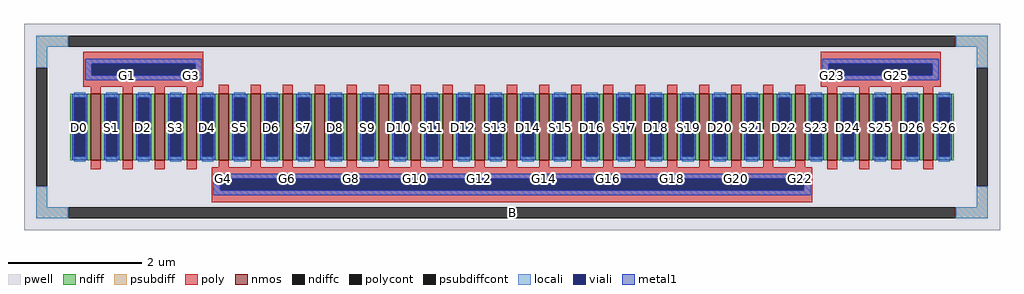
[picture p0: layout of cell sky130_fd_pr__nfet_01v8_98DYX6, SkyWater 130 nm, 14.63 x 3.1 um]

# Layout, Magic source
magic
tech sky130A
magscale 1 2
<< pwell >>
rect -1463 -310 1463 310
<< nmos >>
rect -1263 -100 -1233 100
rect -1167 -100 -1137 100
rect -1071 -100 -1041 100
rect -975 -100 -945 100
rect -879 -100 -849 100
rect -783 -100 -753 100
rect -687 -100 -657 100
rect -591 -100 -561 100
rect -495 -100 -465 100
rect -399 -100 -369 100
rect -303 -100 -273 100
rect -207 -100 -177 100
rect -111 -100 -81 100
rect -15 -100 15 100
rect 81 -100 111 100
rect 177 -100 207 100
rect 273 -100 303 100
rect 369 -100 399 100
rect 465 -100 495 100
rect 561 -100 591 100
rect 657 -100 687 100
rect 753 -100 783 100
rect 849 -100 879 100
rect 945 -100 975 100
rect 1041 -100 1071 100
rect 1137 -100 1167 100
rect 1233 -100 1263 100
<< ndiff >>
rect -1325 88 -1263 100
rect -1325 -88 -1313 88
rect -1279 -88 -1263 88
rect -1325 -100 -1263 -88
rect -1233 88 -1167 100
rect -1233 -88 -1217 88
rect -1183 -88 -1167 88
rect -1233 -100 -1167 -88
rect -1137 88 -1071 100
rect -1137 -88 -1121 88
rect -1087 -88 -1071 88
rect -1137 -100 -1071 -88
rect -1041 88 -975 100
rect -1041 -88 -1025 88
rect -991 -88 -975 88
rect -1041 -100 -975 -88
rect -945 88 -879 100
rect -945 -88 -929 88
rect -895 -88 -879 88
rect -945 -100 -879 -88
rect -849 88 -783 100
rect -849 -88 -833 88
rect -799 -88 -783 88
rect -849 -100 -783 -88
rect -753 88 -687 100
rect -753 -88 -737 88
rect -703 -88 -687 88
rect -753 -100 -687 -88
rect -657 88 -591 100
rect -657 -88 -641 88
rect -607 -88 -591 88
rect -657 -100 -591 -88
rect -561 88 -495 100
rect -561 -88 -545 88
rect -511 -88 -495 88
rect -561 -100 -495 -88
rect -465 88 -399 100
rect -465 -88 -449 88
rect -415 -88 -399 88
rect -465 -100 -399 -88
rect -369 88 -303 100
rect -369 -88 -353 88
rect -319 -88 -303 88
rect -369 -100 -303 -88
rect -273 88 -207 100
rect -273 -88 -257 88
rect -223 -88 -207 88
rect -273 -100 -207 -88
rect -177 88 -111 100
rect -177 -88 -161 88
rect -127 -88 -111 88
rect -177 -100 -111 -88
rect -81 88 -15 100
rect -81 -88 -65 88
rect -31 -88 -15 88
rect -81 -100 -15 -88
rect 15 88 81 100
rect 15 -88 31 88
rect 65 -88 81 88
rect 15 -100 81 -88
rect 111 88 177 100
rect 111 -88 127 88
rect 161 -88 177 88
rect 111 -100 177 -88
rect 207 88 273 100
rect 207 -88 223 88
rect 257 -88 273 88
rect 207 -100 273 -88
rect 303 88 369 100
rect 303 -88 319 88
rect 353 -88 369 88
rect 303 -100 369 -88
rect 399 88 465 100
rect 399 -88 415 88
rect 449 -88 465 88
rect 399 -100 465 -88
rect 495 88 561 100
rect 495 -88 511 88
rect 545 -88 561 88
rect 495 -100 561 -88
rect 591 88 657 100
rect 591 -88 607 88
rect 641 -88 657 88
rect 591 -100 657 -88
rect 687 88 753 100
rect 687 -88 703 88
rect 737 -88 753 88
rect 687 -100 753 -88
rect 783 88 849 100
rect 783 -88 799 88
rect 833 -88 849 88
rect 783 -100 849 -88
rect 879 88 945 100
rect 879 -88 895 88
rect 929 -88 945 88
rect 879 -100 945 -88
rect 975 88 1041 100
rect 975 -88 991 88
rect 1025 -88 1041 88
rect 975 -100 1041 -88
rect 1071 88 1137 100
rect 1071 -88 1087 88
rect 1121 -88 1137 88
rect 1071 -100 1137 -88
rect 1167 88 1233 100
rect 1167 -88 1183 88
rect 1217 -88 1233 88
rect 1167 -100 1233 -88
rect 1263 88 1325 100
rect 1263 -88 1279 88
rect 1313 -88 1325 88
rect 1263 -100 1325 -88
<< ndiffc >>
rect -1313 -88 -1279 88
rect -1217 -88 -1183 88
rect -1121 -88 -1087 88
rect -1025 -88 -991 88
rect -929 -88 -895 88
rect -833 -88 -799 88
rect -737 -88 -703 88
rect -641 -88 -607 88
rect -545 -88 -511 88
rect -449 -88 -415 88
rect -353 -88 -319 88
rect -257 -88 -223 88
rect -161 -88 -127 88
rect -65 -88 -31 88
rect 31 -88 65 88
rect 127 -88 161 88
rect 223 -88 257 88
rect 319 -88 353 88
rect 415 -88 449 88
rect 511 -88 545 88
rect 607 -88 641 88
rect 703 -88 737 88
rect 799 -88 833 88
rect 895 -88 929 88
rect 991 -88 1025 88
rect 1087 -88 1121 88
rect 1183 -88 1217 88
rect 1279 -88 1313 88
<< psubdiff >>
rect -1427 240 -1331 274
rect 1331 240 1427 274
rect -1427 178 -1393 240
rect 1393 178 1427 240
rect -1427 -240 -1393 -178
rect 1393 -240 1427 -178
rect -1427 -274 -1331 -240
rect 1331 -274 1427 -240
<< psubdiffcont >>
rect -1331 240 1331 274
rect -1427 -178 -1393 178
rect 1393 -178 1427 178
rect -1331 -274 1331 -240
<< poly >>
rect -1285 190 -925 225
rect -1285 155 -1260 190
rect -950 155 -925 190
rect -1285 120 -925 155
rect 925 190 1285 225
rect 925 155 950 190
rect 1260 155 1285 190
rect -1263 100 -1233 120
rect -1167 100 -1137 120
rect -1071 100 -1041 120
rect -975 100 -945 120
rect -879 100 -849 126
rect -783 100 -753 126
rect -687 100 -657 126
rect -591 100 -561 126
rect -495 100 -465 126
rect -399 100 -369 126
rect -303 100 -273 126
rect -207 100 -177 126
rect -111 100 -81 126
rect -15 100 15 126
rect 81 100 111 126
rect 177 100 207 126
rect 273 100 303 126
rect 369 100 399 126
rect 465 100 495 126
rect 561 100 591 126
rect 657 100 687 126
rect 753 100 783 126
rect 849 100 879 126
rect 925 120 1285 155
rect 945 100 975 120
rect 1041 100 1071 120
rect 1137 100 1167 120
rect 1233 100 1263 120
rect -1263 -126 -1233 -100
rect -1167 -126 -1137 -100
rect -1071 -126 -1041 -100
rect -975 -126 -945 -100
rect -879 -120 -849 -100
rect -783 -120 -753 -100
rect -687 -120 -657 -100
rect -591 -120 -561 -100
rect -495 -120 -465 -100
rect -399 -120 -369 -100
rect -303 -120 -273 -100
rect -207 -120 -177 -100
rect -111 -120 -81 -100
rect -15 -120 15 -100
rect 81 -120 111 -100
rect 177 -120 207 -100
rect 273 -120 303 -100
rect 369 -120 399 -100
rect 465 -120 495 -100
rect 561 -120 591 -100
rect 657 -120 687 -100
rect 753 -120 783 -100
rect 849 -120 879 -100
rect -900 -155 900 -120
rect 945 -126 975 -100
rect 1041 -126 1071 -100
rect 1137 -126 1167 -100
rect 1233 -126 1263 -100
rect -900 -190 -875 -155
rect 875 -190 900 -155
rect -900 -225 900 -190
<< polycont >>
rect -1260 155 -950 190
rect 950 155 1260 190
rect -875 -190 875 -155
<< locali >>
rect -1427 240 -1331 274
rect 1331 240 1427 274
rect -1427 178 -1393 240
rect -1280 190 -930 205
rect -1280 155 -1260 190
rect -950 155 -930 190
rect -1280 140 -930 155
rect 930 190 1280 205
rect 930 155 950 190
rect 1260 155 1280 190
rect 930 140 1280 155
rect 1393 178 1427 240
rect -1313 88 -1279 104
rect -1313 -104 -1279 -88
rect -1217 88 -1183 104
rect -1217 -104 -1183 -88
rect -1121 88 -1087 104
rect -1121 -104 -1087 -88
rect -1025 88 -991 104
rect -1025 -104 -991 -88
rect -929 88 -895 104
rect -929 -104 -895 -88
rect -833 88 -799 104
rect -833 -104 -799 -88
rect -737 88 -703 104
rect -737 -104 -703 -88
rect -641 88 -607 104
rect -641 -104 -607 -88
rect -545 88 -511 104
rect -545 -104 -511 -88
rect -449 88 -415 104
rect -449 -104 -415 -88
rect -353 88 -319 104
rect -353 -104 -319 -88
rect -257 88 -223 104
rect -257 -104 -223 -88
rect -161 88 -127 104
rect -161 -104 -127 -88
rect -65 88 -31 104
rect -65 -104 -31 -88
rect 31 88 65 104
rect 31 -104 65 -88
rect 127 88 161 104
rect 127 -104 161 -88
rect 223 88 257 104
rect 223 -104 257 -88
rect 319 88 353 104
rect 319 -104 353 -88
rect 415 88 449 104
rect 415 -104 449 -88
rect 511 88 545 104
rect 511 -104 545 -88
rect 607 88 641 104
rect 607 -104 641 -88
rect 703 88 737 104
rect 703 -104 737 -88
rect 799 88 833 104
rect 799 -104 833 -88
rect 895 88 929 104
rect 895 -104 929 -88
rect 991 88 1025 104
rect 991 -104 1025 -88
rect 1087 88 1121 104
rect 1087 -104 1121 -88
rect 1183 88 1217 104
rect 1183 -104 1217 -88
rect 1279 88 1313 104
rect 1279 -104 1313 -88
rect -1427 -240 -1393 -178
rect -895 -155 895 -140
rect -895 -190 -875 -155
rect 875 -190 895 -155
rect -895 -205 895 -190
rect 1393 -240 1427 -178
rect -1427 -274 -1331 -240
rect 1331 -274 1427 -240
<< viali >>
rect -1260 155 -950 190
rect 950 155 1260 190
rect -1313 -88 -1279 88
rect -1217 -88 -1183 88
rect -1121 -88 -1087 88
rect -1025 -88 -991 88
rect -929 -88 -895 88
rect -833 -88 -799 88
rect -737 -88 -703 88
rect -641 -88 -607 88
rect -545 -88 -511 88
rect -449 -88 -415 88
rect -353 -88 -319 88
rect -257 -88 -223 88
rect -161 -88 -127 88
rect -65 -88 -31 88
rect 31 -88 65 88
rect 127 -88 161 88
rect 223 -88 257 88
rect 319 -88 353 88
rect 415 -88 449 88
rect 511 -88 545 88
rect 607 -88 641 88
rect 703 -88 737 88
rect 799 -88 833 88
rect 895 -88 929 88
rect 991 -88 1025 88
rect 1087 -88 1121 88
rect 1183 -88 1217 88
rect 1279 -88 1313 88
rect -875 -190 875 -155
<< metal1 >>
rect -1280 190 -930 205
rect -1280 155 -1260 190
rect -950 155 -930 190
rect -1280 140 -930 155
rect 930 190 1280 205
rect 930 155 950 190
rect 1260 155 1280 190
rect 930 140 1280 155
rect -1319 88 -1273 100
rect -1319 -88 -1313 88
rect -1279 -88 -1273 88
rect -1319 -100 -1273 -88
rect -1223 88 -1177 100
rect -1223 -88 -1217 88
rect -1183 -88 -1177 88
rect -1223 -100 -1177 -88
rect -1127 88 -1081 100
rect -1127 -88 -1121 88
rect -1087 -88 -1081 88
rect -1127 -100 -1081 -88
rect -1031 88 -985 100
rect -1031 -88 -1025 88
rect -991 -88 -985 88
rect -1031 -100 -985 -88
rect -935 88 -889 100
rect -935 -88 -929 88
rect -895 -88 -889 88
rect -935 -100 -889 -88
rect -839 88 -793 100
rect -839 -88 -833 88
rect -799 -88 -793 88
rect -839 -100 -793 -88
rect -743 88 -697 100
rect -743 -88 -737 88
rect -703 -88 -697 88
rect -743 -100 -697 -88
rect -647 88 -601 100
rect -647 -88 -641 88
rect -607 -88 -601 88
rect -647 -100 -601 -88
rect -551 88 -505 100
rect -551 -88 -545 88
rect -511 -88 -505 88
rect -551 -100 -505 -88
rect -455 88 -409 100
rect -455 -88 -449 88
rect -415 -88 -409 88
rect -455 -100 -409 -88
rect -359 88 -313 100
rect -359 -88 -353 88
rect -319 -88 -313 88
rect -359 -100 -313 -88
rect -263 88 -217 100
rect -263 -88 -257 88
rect -223 -88 -217 88
rect -263 -100 -217 -88
rect -167 88 -121 100
rect -167 -88 -161 88
rect -127 -88 -121 88
rect -167 -100 -121 -88
rect -71 88 -25 100
rect -71 -88 -65 88
rect -31 -88 -25 88
rect -71 -100 -25 -88
rect 25 88 71 100
rect 25 -88 31 88
rect 65 -88 71 88
rect 25 -100 71 -88
rect 121 88 167 100
rect 121 -88 127 88
rect 161 -88 167 88
rect 121 -100 167 -88
rect 217 88 263 100
rect 217 -88 223 88
rect 257 -88 263 88
rect 217 -100 263 -88
rect 313 88 359 100
rect 313 -88 319 88
rect 353 -88 359 88
rect 313 -100 359 -88
rect 409 88 455 100
rect 409 -88 415 88
rect 449 -88 455 88
rect 409 -100 455 -88
rect 505 88 551 100
rect 505 -88 511 88
rect 545 -88 551 88
rect 505 -100 551 -88
rect 601 88 647 100
rect 601 -88 607 88
rect 641 -88 647 88
rect 601 -100 647 -88
rect 697 88 743 100
rect 697 -88 703 88
rect 737 -88 743 88
rect 697 -100 743 -88
rect 793 88 839 100
rect 793 -88 799 88
rect 833 -88 839 88
rect 793 -100 839 -88
rect 889 88 935 100
rect 889 -88 895 88
rect 929 -88 935 88
rect 889 -100 935 -88
rect 985 88 1031 100
rect 985 -88 991 88
rect 1025 -88 1031 88
rect 985 -100 1031 -88
rect 1081 88 1127 100
rect 1081 -88 1087 88
rect 1121 -88 1127 88
rect 1081 -100 1127 -88
rect 1177 88 1223 100
rect 1177 -88 1183 88
rect 1217 -88 1223 88
rect 1177 -100 1223 -88
rect 1273 88 1319 100
rect 1273 -88 1279 88
rect 1313 -88 1319 88
rect 1273 -100 1319 -88
rect -895 -155 895 -140
rect -895 -190 -875 -155
rect 875 -190 895 -155
rect -895 -205 895 -190
<< labels >>
rlabel psubdiffcont 0 -257 0 -257 0 B
port 1 nsew
rlabel ndiffc -1296 0 -1296 0 0 D0
port 2 nsew
rlabel ndiffc -1200 0 -1200 0 0 S1
port 4 nsew
rlabel ndiffc -1104 0 -1104 0 0 D2
port 6 nsew
rlabel ndiffc -1008 0 -1008 0 0 S3
port 8 nsew
rlabel ndiffc -912 0 -912 0 0 D4
port 10 nsew
rlabel poly -864 -155 -864 -155 0 G4
port 11 nsew
rlabel ndiffc -816 0 -816 0 0 S5
port 12 nsew
rlabel ndiffc -720 0 -720 0 0 D6
port 14 nsew
rlabel poly -672 -155 -672 -155 0 G6
port 15 nsew
rlabel ndiffc -624 0 -624 0 0 S7
port 16 nsew
rlabel ndiffc -528 0 -528 0 0 D8
port 18 nsew
rlabel poly -480 -155 -480 -155 0 G8
port 19 nsew
rlabel ndiffc -432 0 -432 0 0 S9
port 20 nsew
rlabel ndiffc -336 0 -336 0 0 D10
port 22 nsew
rlabel poly -288 -155 -288 -155 0 G10
port 23 nsew
rlabel ndiffc -240 0 -240 0 0 S11
port 24 nsew
rlabel ndiffc -144 0 -144 0 0 D12
port 26 nsew
rlabel poly -96 -155 -96 -155 0 G12
port 27 nsew
rlabel ndiffc -48 0 -48 0 0 S13
port 28 nsew
rlabel ndiffc 48 0 48 0 0 D14
port 30 nsew
rlabel poly 96 -155 96 -155 0 G14
port 31 nsew
rlabel ndiffc 144 0 144 0 0 S15
port 32 nsew
rlabel ndiffc 240 0 240 0 0 D16
port 34 nsew
rlabel poly 288 -155 288 -155 0 G16
port 35 nsew
rlabel ndiffc 336 0 336 0 0 S17
port 36 nsew
rlabel ndiffc 432 0 432 0 0 D18
port 38 nsew
rlabel poly 480 -155 480 -155 0 G18
port 39 nsew
rlabel ndiffc 528 0 528 0 0 S19
port 40 nsew
rlabel ndiffc 624 0 624 0 0 D20
port 42 nsew
rlabel poly 672 -155 672 -155 0 G20
port 43 nsew
rlabel ndiffc 720 0 720 0 0 S21
port 44 nsew
rlabel ndiffc 816 0 816 0 0 D22
port 46 nsew
rlabel poly 864 -155 864 -155 0 G22
port 47 nsew
rlabel ndiffc 912 0 912 0 0 S23
port 48 nsew
rlabel poly 960 155 960 155 0 G23
port 49 nsew
rlabel ndiffc 1008 0 1008 0 0 D24
port 50 nsew
rlabel ndiffc 1104 0 1104 0 0 S25
port 52 nsew
rlabel poly 1152 155 1152 155 0 G25
port 53 nsew
rlabel ndiffc 1200 0 1200 0 0 D26
port 54 nsew
rlabel ndiffc 1296 0 1296 0 0 S26
port 55 nsew
rlabel poly -960 155 -960 155 0 G3
port 9 nsew
rlabel poly -1152 155 -1152 155 0 G1
port 5 nsew
<< properties >>
string FIXED_BBOX -1410 -257 1410 257
string gencell sky130_fd_pr__nfet_01v8
string library sky130
string parameters w 1 l 0.15 m 1 nf 27 diffcov 100 polycov 100 guard 1 glc 1 grc 1 gtc 1 gbc 1 tbcov 100 rlcov 100 topc 1 botc 1 poverlap 0 doverlap 1 lmin 0.15 wmin 0.42 class mosfet compatible {sky130_fd_pr__nfet_01v8 sky130_fd_pr__nfet_01v8_lvt  sky130_fd_bs_flash__special_sonosfet_star  sky130_fd_pr__nfet_g5v0d10v5 sky130_fd_pr__nfet_05v0_nvt  sky130_fd_pr__nfet_03v3_nvt} full_metal 1 conn_gates 0 viasrc 100 viadrn 100 viagate 100 viagb 0 viagr 0 viagl 0 viagt 0 doports 1
<< end >>
